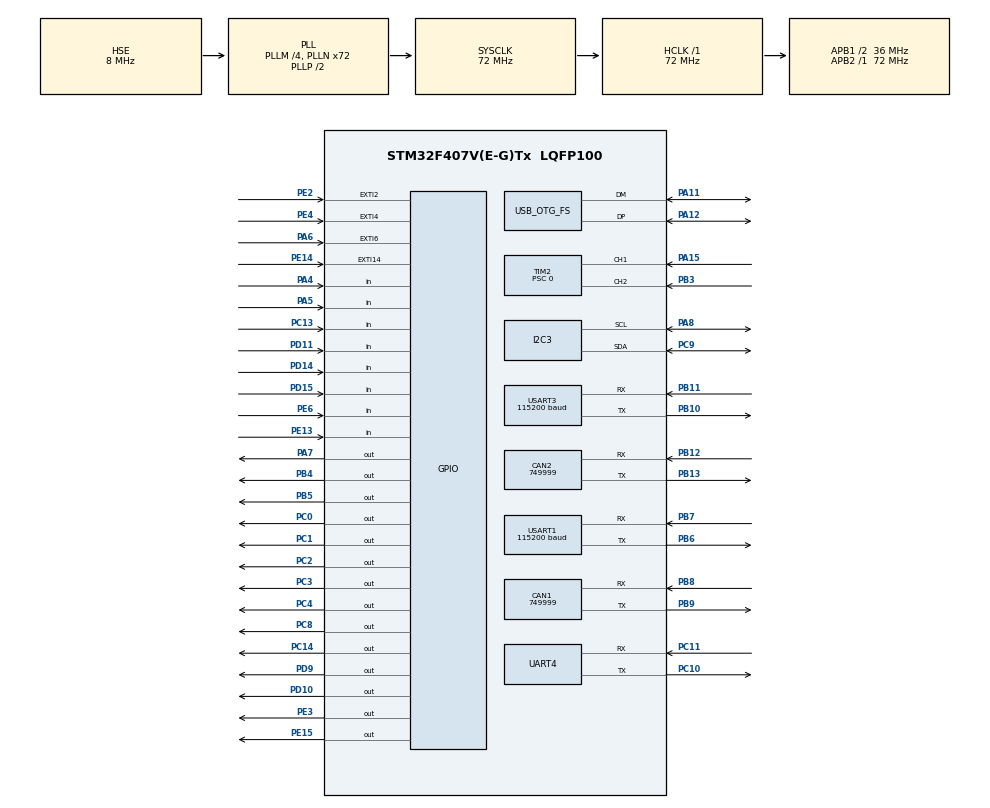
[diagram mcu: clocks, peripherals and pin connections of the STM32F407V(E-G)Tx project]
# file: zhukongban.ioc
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CAN1.BS1=CAN_BS1_1TQ
CAN1.BS2=CAN_BS2_1TQ
CAN1.CalculateBaudRate=749999
CAN1.CalculateTimeBit=1333
CAN1.CalculateTimeQuantum=444.44444444444446
CAN2.BS1=CAN_BS1_1TQ
CAN2.BS2=CAN_BS2_1TQ
CAN2.CalculateBaudRate=749999
CAN2.CalculateTimeBit=1333
CAN2.CalculateTimeQuantum=444.44444444444446
Dma.Request0=USART3_RX
Dma.Request1=USART3_TX
Dma.Request2=USART1_RX
Dma.Request3=USART1_TX
Dma.Request4=UART4_RX
Dma.Request5=UART4_TX
Dma.Request6=TIM2_UP/CH4
Dma.TIM2_UP/CH4.6.Direction=DMA_PERIPH_TO_MEMORY
Dma.TIM2_UP/CH4.6.FIFOMode=DMA_FIFOMODE_DISABLE
Dma.TIM2_UP/CH4.6.Instance=DMA1_Stream7
Dma.TIM2_UP/CH4.6.MemDataAlignment=DMA_MDATAALIGN_WORD
Dma.TIM2_UP/CH4.6.MemInc=DMA_MINC_ENABLE
Dma.TIM2_UP/CH4.6.Mode=DMA_NORMAL
Dma.TIM2_UP/CH4.6.PeriphDataAlignment=DMA_PDATAALIGN_WORD
Dma.TIM2_UP/CH4.6.PeriphInc=DMA_PINC_DISABLE
Dma.TIM2_UP/CH4.6.Priority=DMA_PRIORITY_LOW
Dma.UART4_RX.4.Direction=DMA_PERIPH_TO_MEMORY
Dma.UART4_RX.4.FIFOMode=DMA_FIFOMODE_DISABLE
Dma.UART4_RX.4.Instance=DMA1_Stream2
Dma.UART4_RX.4.MemDataAlignment=DMA_MDATAALIGN_BYTE
Dma.UART4_RX.4.MemInc=DMA_MINC_ENABLE
Dma.UART4_RX.4.Mode=DMA_NORMAL
Dma.UART4_RX.4.PeriphDataAlignment=DMA_PDATAALIGN_BYTE
Dma.UART4_RX.4.PeriphInc=DMA_PINC_DISABLE
Dma.UART4_RX.4.Priority=DMA_PRIORITY_LOW
Dma.UART4_TX.5.Direction=DMA_MEMORY_TO_PERIPH
Dma.UART4_TX.5.FIFOMode=DMA_FIFOMODE_DISABLE
Dma.UART4_TX.5.Instance=DMA1_Stream4
Dma.UART4_TX.5.MemDataAlignment=DMA_MDATAALIGN_BYTE
Dma.UART4_TX.5.MemInc=DMA_MINC_ENABLE
Dma.UART4_TX.5.Mode=DMA_NORMAL
Dma.UART4_TX.5.PeriphDataAlignment=DMA_PDATAALIGN_BYTE
Dma.UART4_TX.5.PeriphInc=DMA_PINC_DISABLE
Dma.UART4_TX.5.Priority=DMA_PRIORITY_LOW
Dma.USART1_RX.2.Direction=DMA_PERIPH_TO_MEMORY
Dma.USART1_RX.2.FIFOMode=DMA_FIFOMODE_DISABLE
Dma.USART1_RX.2.Instance=DMA2_Stream2
Dma.USART1_RX.2.MemDataAlignment=DMA_MDATAALIGN_BYTE
Dma.USART1_RX.2.MemInc=DMA_MINC_ENABLE
Dma.USART1_RX.2.Mode=DMA_NORMAL
Dma.USART1_RX.2.PeriphDataAlignment=DMA_PDATAALIGN_BYTE
Dma.USART1_RX.2.PeriphInc=DMA_PINC_DISABLE
Dma.USART1_RX.2.Priority=DMA_PRIORITY_LOW
Dma.USART1_TX.3.Direction=DMA_MEMORY_TO_PERIPH
Dma.USART1_TX.3.FIFOMode=DMA_FIFOMODE_DISABLE
Dma.USART1_TX.3.Instance=DMA2_Stream7
Dma.USART1_TX.3.MemDataAlignment=DMA_MDATAALIGN_BYTE
Dma.USART1_TX.3.MemInc=DMA_MINC_ENABLE
Dma.USART1_TX.3.Mode=DMA_NORMAL
Dma.USART1_TX.3.PeriphDataAlignment=DMA_PDATAALIGN_BYTE
Dma.USART1_TX.3.PeriphInc=DMA_PINC_DISABLE
Dma.USART1_TX.3.Priority=DMA_PRIORITY_LOW
Dma.USART3_RX.0.Direction=DMA_PERIPH_TO_MEMORY
Dma.USART3_RX.0.FIFOMode=DMA_FIFOMODE_DISABLE
Dma.USART3_RX.0.Instance=DMA1_Stream1
Dma.USART3_RX.0.MemDataAlignment=DMA_MDATAALIGN_BYTE
Dma.USART3_RX.0.MemInc=DMA_MINC_ENABLE
Dma.USART3_RX.0.Mode=DMA_NORMAL
Dma.USART3_RX.0.PeriphDataAlignment=DMA_PDATAALIGN_BYTE
Dma.USART3_RX.0.PeriphInc=DMA_PINC_DISABLE
Dma.USART3_RX.0.Priority=DMA_PRIORITY_LOW
Dma.USART3_TX.1.Direction=DMA_MEMORY_TO_PERIPH
Dma.USART3_TX.1.FIFOMode=DMA_FIFOMODE_DISABLE
Dma.USART3_TX.1.Instance=DMA1_Stream3
Dma.USART3_TX.1.MemDataAlignment=DMA_MDATAALIGN_BYTE
Dma.USART3_TX.1.MemInc=DMA_MINC_ENABLE
Dma.USART3_TX.1.Mode=DMA_NORMAL
Dma.USART3_TX.1.PeriphDataAlignment=DMA_PDATAALIGN_BYTE
Dma.USART3_TX.1.PeriphInc=DMA_PINC_DISABLE
Dma.USART3_TX.1.Priority=DMA_PRIORITY_LOW
Mcu.Family=STM32F4
Mcu.Name=STM32F407V(E-G)Tx
Mcu.Package=LQFP100
NVIC.DMA1_Stream1_IRQn=true\:0\:0\:false\:false\:true\:false\:true\:true
NVIC.DMA1_Stream2_IRQn=true\:0\:0\:false\:false\:true\:false\:true\:true
NVIC.DMA1_Stream3_IRQn=true\:0\:0\:false\:false\:true\:false\:true\:true
NVIC.DMA1_Stream4_IRQn=true\:0\:0\:false\:false\:true\:false\:true\:true
NVIC.DMA1_Stream7_IRQn=true\:0\:0\:false\:false\:true\:false\:true\:true
NVIC.DMA2_Stream2_IRQn=true\:0\:0\:false\:false\:true\:false\:true\:true
NVIC.DMA2_Stream7_IRQn=true\:0\:0\:false\:false\:true\:false\:true\:true
NVIC.EXTI2_IRQn=true\:0\:0\:false\:false\:true\:true\:true\:true
NVIC.EXTI9_5_IRQn=true\:0\:0\:false\:false\:true\:true\:true\:true
NVIC.PriorityGroup=NVIC_PRIORITYGROUP_4
NVIC.TIM2_IRQn=true\:0\:0\:false\:false\:true\:true\:true\:true
NVIC.TIM3_IRQn=true\:0\:0\:false\:false\:true\:true\:true\:true
NVIC.TIM4_IRQn=true\:0\:0\:false\:false\:true\:true\:true\:true
NVIC.UART4_IRQn=true\:0\:0\:false\:false\:true\:true\:true\:true
NVIC.USART1_IRQn=true\:0\:0\:false\:false\:true\:true\:true\:true
NVIC.USART3_IRQn=true\:0\:0\:false\:false\:true\:true\:true\:true
PA11.Mode=Host_Only
PA11.Signal=USB_OTG_FS_DM
PA12.Mode=Host_Only
PA12.Signal=USB_OTG_FS_DP
PA13.Mode=Serial_Wire
PA13.Signal=SYS_JTMS-SWDIO
PA14.Mode=Serial_Wire
PA14.Signal=SYS_JTCK-SWCLK
PA15.GPIO_PuPd=GPIO_PULLDOWN
PA15.GPIO_Speed=GPIO_SPEED_FREQ_HIGH
PA15.Signal=S_TIM2_CH1_ETR
PA4.Signal=GPIO_Input
PA5.Signal=GPIO_Input
PA6.GPIO_ModeDefaultEXTI=GPIO_MODE_IT_FALLING
PA6.Signal=GPXTI6
PA7.Signal=GPIO_Output
PA8.Mode=I2C
PA8.Signal=I2C3_SCL
PB10.Mode=Asynchronous
PB10.Signal=USART3_TX
PB11.Mode=Asynchronous
PB11.Signal=USART3_RX
PB12.Mode=CAN_Activate
PB12.Signal=CAN2_RX
PB13.Mode=CAN_Activate
PB13.Signal=CAN2_TX
PB3.Signal=S_TIM2_CH2
PB4.PinState=GPIO_PIN_SET
PB4.Signal=GPIO_Output
PB5.Signal=GPIO_Output
PB6.Mode=Asynchronous
PB6.Signal=USART1_TX
PB7.Mode=Asynchronous
PB7.Signal=USART1_RX
PB8.Mode=CAN_Activate
PB8.Signal=CAN1_RX
PB9.Mode=CAN_Activate
PB9.Signal=CAN1_TX
PC0.Signal=GPIO_Output
PC1.Signal=GPIO_Output
PC10.Mode=Asynchronous
PC10.Signal=UART4_TX
PC11.Mode=Asynchronous
PC11.Signal=UART4_RX
PC12.Signal=UART5_TX
PC13-ANTI_TAMP.Signal=GPIO_Input
PC14-OSC32_IN.Signal=GPIO_Output
PC2.Signal=GPIO_Output
PC3.Signal=GPIO_Output
PC4.Signal=GPIO_Output
PC8.Signal=GPIO_Output
PC9.Mode=I2C
PC9.Signal=I2C3_SDA
PD10.PinState=GPIO_PIN_RESET
PD10.Signal=GPIO_Output
PD11.Signal=GPIO_Input
PD14.Signal=GPIO_Input
PD15.Signal=GPIO_Input
PD2.Signal=UART5_RX
PD5.Signal=USART2_TX
PD6.Signal=USART2_RX
PD9.Signal=GPIO_Output
PE13.Signal=GPIO_Input
PE14.GPIO_ModeDefaultEXTI=GPIO_MODE_IT_FALLING
PE14.Signal=GPXTI14
PE15.Signal=GPIO_Output
PE2.GPIO_ModeDefaultEXTI=GPIO_MODE_IT_FALLING
PE2.Signal=GPXTI2
PE3.Signal=GPIO_Output
PE4.GPIO_ModeDefaultEXTI=GPIO_MODE_IT_FALLING
PE4.GPIO_PuPd=GPIO_NOPULL
PE4.Signal=GPXTI4
PE6.Signal=GPIO_Input
PH0-OSC_IN.Mode=HSE-External-Oscillator
PH0-OSC_IN.Signal=RCC_OSC_IN
PH1-OSC_OUT.Mode=HSE-External-Oscillator
PH1-OSC_OUT.Signal=RCC_OSC_OUT
ProjectManager.HeapSize=0x200
ProjectManager.StackSize=0x400
ProjectManager.TargetToolchain=MDK-ARM V5.32
RCC.48MHZClocksFreq_Value=48000000
RCC.AHBFreq_Value=72000000
RCC.APB1CLKDivider=RCC_HCLK_DIV2
RCC.APB1Freq_Value=36000000
RCC.APB1TimFreq_Value=72000000
RCC.APB2Freq_Value=72000000
RCC.APB2TimFreq_Value=72000000
RCC.CortexFreq_Value=72000000
RCC.HCLKFreq_Value=72000000
RCC.HSE_VALUE=8000000
RCC.HSI_VALUE=16000000
RCC.LSE_VALUE=32768
RCC.PLLM=4
RCC.PLLN=72
RCC.PLLQ=3
RCC.SYSCLKFreq_VALUE=72000000
RCC.SYSCLKSource=RCC_SYSCLKSOURCE_PLLCLK
RCC.VCOOutputFreq_Value=144000000
SH.S_TIM2_CH1_ETR.0=TIM2_CH1,Encoder_Interface
SH.S_TIM2_CH2.0=TIM2_CH2,Encoder_Interface
TIM2.AutoReloadPreload=TIM_AUTORELOAD_PRELOAD_ENABLE
TIM2.EncoderMode=TIM_ENCODERMODE_TI12
TIM2.Period=0xffffffff
TIM2.Prescaler=0
TIM2.TIM_MasterOutputTrigger=TIM_TRGO_RESET
TIM3.AutoReloadPreload=TIM_AUTORELOAD_PRELOAD_DISABLE
TIM3.Period=4999
TIM3.Prescaler=7199
TIM4.AutoReloadPreload=TIM_AUTORELOAD_PRELOAD_ENABLE
TIM4.Period=999
TIM4.Prescaler=7199
UART4.Parity=PARITY_NONE
UART4.VirtualMode=Asynchronous
UART4.WordLength=WORDLENGTH_8B
USART1.BaudRate=115200
USART1.Parity=PARITY_EVEN
USART1.VirtualMode=VM_ASYNC
USART1.WordLength=WORDLENGTH_9B
USART3.BaudRate=115200
USART3.Parity=PARITY_EVEN
USART3.VirtualMode=VM_ASYNC
USART3.WordLength=WORDLENGTH_9B
USB_OTG_FS.VirtualMode=Host_Only
USB_OTG_FS.phy_itface=HCD_PHY_EMBEDDED
VP_RTC_VS_RTC_Activate.Mode=RTC_Enabled
VP_TIM3_VS_ClockSourceINT.Mode=Internal
VP_TIM4_VS_ClockSourceINT.Mode=Internal
board=custom

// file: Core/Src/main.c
/* USER CODE BEGIN Header */
/**
  ******************************************************************************
  * @file           : main.c
  * @brief          : Main program body
  ******************************************************************************
  * @attention
  *
  * Copyright (c) 2025 STMicroelectronics.
  * All rights reserved.
  *
  * This software is licensed under terms that can be found in the LICENSE file
  * in the root directory of this software component.
  * If no LICENSE file comes with this software, it is provided AS-IS.
  *
  ******************************************************************************
  */
/* USER CODE END Header */
#include "main.h"
#include "can.h"
#include "dma.h"
#include "i2c.h"
#include "rtc.h"
#include "tim.h"
#include "usart.h"
#include "usb_otg.h"
#include "gpio.h"

/* USER CODE BEGIN Includes */
#include "hardware.h"
#include "stm32f4xx.h"
uint8_t rx1_buffer[RX_BUFFER_SIZE];   //接电机，串口1 232
uint8_t rx4_buffer[RX_BUFFER_SIZE];   //接高压板，串口4485
uint8_t rx3_buffer[RX_BUFFER_SIZE];   //接上位机，串口3 422
uint8_t tim2_buffer[4];

uint16_t rx1_length;
uint16_t rx4_length;
uint16_t rx3_length;
uint16_t tim2_length;

uint8_t  rx1_flag = 0;
uint8_t  rx4_flag = 0;
uint8_t  rx3_flag = 0;

uint8_t motor_flag = 0;     //如果等于0则对应信号转高压板
uint8_t com_flag = 0;       //如果等于1则对应信号转高压板

uint16_t k =0;
uint8_t expose_flag = 0;    //曝光标志位
uint8_t pre_flag = 0;       //预备标志位
uint8_t Gybpre_flag =0;     //高压板是否准备
uint8_t Syn_flag =0;        //同步标志位
uint8_t over_flag = 0;      //结束标志位

uint16_t n_total;       //拍照总张数，从上位机读取
uint16_t t_time;        //周期,帧率倒数
uint8_t  pose_time;     //曝光时间
uint8_t  state = 0;     //用于判断进度，初始是0，pre后为1，expose结束后返回0
uint8_t stop_flag = 0;

int32_t pos = 0; // 强制转有符号
unsigned char SynState = 0;   //同步
unsigned char ExpState = 0;   //曝光
/* USER CODE END Includes */

void SystemClock_Config(void);

int main(void)
{

  /* MCU Configuration--------------------------------------------------------*/

  /* Reset of all peripherals, Initializes the Flash interface and the Systick. */
  HAL_Init();

  /* Configure the system clock */
  SystemClock_Config();

  /* Initialize all configured peripherals */
  MX_GPIO_Init();
  MX_DMA_Init();
  MX_CAN1_Init();
  MX_CAN2_Init();
  MX_I2C3_Init();
  MX_USART1_UART_Init();
  MX_USART3_UART_Init();
  MX_USB_OTG_FS_HCD_Init();
  MX_RTC_Init();
  MX_TIM2_Init();
  MX_TIM3_Init();
  MX_UART4_Init();
  MX_TIM4_Init();
  /* USER CODE BEGIN 2 */
//中断接收
//	HAL_UART_Receive_IT(&huart1,rx_buffer ,sizeof(rx_buffer));
// 使能空闲中断
  __HAL_UART_ENABLE_IT(&huart1, UART_IT_IDLE);
  __HAL_UART_ENABLE_IT(&huart4, UART_IT_IDLE);
	__HAL_UART_ENABLE_IT(&huart3, UART_IT_IDLE);

//  // 启动DMA接收
  HAL_UART_Receive_DMA(&huart1, rx1_buffer, sizeof(rx1_buffer));
	HAL_UART_Receive_DMA(&huart4, rx4_buffer, sizeof(rx4_buffer));
	HAL_UART_Receive_DMA(&huart3, rx3_buffer, sizeof(rx3_buffer));

				//使能TIM2中断
	HAL_TIM_Base_Start_IT(&htim4);    //
	HAL_TIM_Base_Start_IT(&htim3);    //
	HAL_TIM_Base_Stop(&htim4);     //暂停计数
	HAL_TIM_Base_Stop(&htim3);     //暂停计数
  //HAL_TIM_PWM_Start(&htim1,TIM_CHANNEL_3);  //启动PWM计数
	//定时器2的溢出值，重载使能
	HAL_TIM_Encoder_Start(&htim2, TIM_CHANNEL_ALL);   // 一次启动所有通道

  /* USER CODE END 2 */

  /* Infinite loop */
  /* USER CODE BEGIN WHILE */

	t_time  = 1/20*1000 ;    //20帧用的毫秒数      //这两个数据需要通过上位机下发指令读取
	pose_time = t_time /2 ;  //曝光时间占一半      //可修改，上位机可

  while (1)
  {

		if(rx3_flag ==1)  // 上位机下发数据
		{
			rx3_flag = 0;
			if(rx3_buffer[0] == 0x5A)  //除电机外的数据
			{
				GybMessage message_422 =
				{
					.Header = rx3_buffer[0], //数据帧头
					.Addr = rx3_buffer[1],  // 数据地址
					.Len = rx3_buffer[2],   // 数据长度
					.Byte0 = rx3_buffer[3], // 指令
					.Byte1 = rx3_buffer[4], // 特殊位索引1
					.Byte2 = rx3_buffer[5], // 特殊位索引 2
					.Byte3 = rx3_buffer[6], // 特殊位索引 3
					.Byte4 = rx3_buffer[7], // 数据字节 1
					.Byte5 = rx3_buffer[8], // 数据字节 2
					.Byte6 = rx3_buffer[9], // 数据字节 3
					.Byte7 = rx3_buffer[10] // 数据字节 4
				};

				if(message_422.Byte0 == 0x21 && message_422.Byte4 == 0x01)   //上位机手闸一
				{
					pre_flag = 1;
				}
				else if(message_422.Byte0 == 0x22 && message_422.Byte4 == 0x01)  //上位机手闸二
				{
					expose_flag = 1;
				}
				else if(message_422.Byte0 == 0x23 && message_422.Byte4 == 0x01)   //上位机停止
				{
					stop_flag = 1;
				}

				else if(message_422.Byte0 == 0x15)         //曝光总时间
				{
					t_time = message_422.Byte3*256 + message_422.Byte4;
				}
				else if(message_422.Byte0 == 0x16)         //脉冲曝光时间
				{
					pose_time = message_422.Byte3*256 + message_422.Byte4;
				}
				else
				{
					com_flag = 1;
					HAL_UART_Transmit_DMA(&huart4, rx3_buffer, rx3_length);   //转发给高压板
				}
			}
			//增加一个判断标志，判断是否是发送给电机的数据，比如头是否是01
			else if(rx3_buffer[0] == 0x01)
			{
				motor_flag =1;

				HAL_UART_Transmit_DMA(&huart1, rx3_buffer, rx3_length);   //转发给电机
			}
		}

	  HAL_Delay(300);

    pos = (int32_t)__HAL_TIM_GET_COUNTER(&htim2); // 查询电机位置
		tim2_buffer[0]   = (uint8_t)(pos & 0xFF);
    tim2_buffer[1] = (uint8_t)((pos >> 8) & 0xFF);
    tim2_buffer[2] = (uint8_t)((pos >> 16) & 0xFF);
    tim2_buffer[3] = (uint8_t)((pos >> 24) & 0xFF);
    tim2_length = 4;
			HAL_UART_Transmit(&huart3, tim2_buffer, tim2_length ,0xFFFF );

			//查询电机速度，
		/*
				HAL_Delay(20);
			DataFrame_Motor1 frame1 =
			{
					.Header = 0x01,
					.Cmd = 0x03,
					.addr = 0x4025,
					.data = 0x0001
				};

			DataFrame_Motor1 *p1 = &frame1;
			uint8_t data[8];
			Send_motor1(p1, data);//计算校验位CRC
			HAL_UART_Transmit_DMA(&huart1, data, sizeof(data));  //通过串口1发送指令查询电机速度

//查询电机位置，
						HAL_Delay(10);
			DataFrame_Motor1 frame2 =
			{
					.Header = 0x01,
					.Cmd = 0x03,
					.addr = 0x4204,
					.data = 0x0002
				};

			DataFrame_Motor1 *p2 = &frame2;
			uint8_t data1[8];
			Send_motor1(p2, data1);//计算校验位CRC
			HAL_UART_Transmit_DMA(&huart1, data1, sizeof(data1));  //通过串口1发送指令查询电机位置
			*/

		//判断是否来了准备信号，下面的过程较为复杂但是单一，建议使用状态机
		if (pre_flag == 1)
		{
				//发动到高压板
			HAL_GPIO_WritePin(GPIOA,GPIO_PIN_7,GPIO_PIN_SET); //IO口通知高压板准备
			pre_flag = 0;
			state = 1; //状态机
	  }

		//判断电机是否转好并且高压板是否准备好同时判断是否手闸二打开
		if(state ==1 && Gybpre_flag == 1)
		{

				//后面可以通过读取电机速度是否为零进行判断。

			if (expose_flag ==1)  //手闸2打开，开始曝光
			{
				//启动计时器2计数，产生同步信号
				HAL_TIM_Base_Start(&htim4);
	  	}
		}

		if(over_flag ==1)  //通过判断曝光次数或者电机运动停止
		{
			//通知高压板和上位机曝光结束
		}
		HAL_Delay(300);

    /* USER CODE END WHILE */

  }
}

void SystemClock_Config(void)
{
  RCC_OscInitTypeDef RCC_OscInitStruct = {0};
  RCC_ClkInitTypeDef RCC_ClkInitStruct = {0};

  /** Configure the main internal regulator output voltage
  */
  __HAL_RCC_PWR_CLK_ENABLE();
  __HAL_PWR_VOLTAGESCALING_CONFIG(PWR_REGULATOR_VOLTAGE_SCALE1);

  /** Initializes the RCC Oscillators according to the specified parameters
  * in the RCC_OscInitTypeDef structure.
  */
  RCC_OscInitStruct.OscillatorType = RCC_OSCILLATORTYPE_LSI|RCC_OSCILLATORTYPE_HSE;
  RCC_OscInitStruct.HSEState = RCC_HSE_ON;
  RCC_OscInitStruct.LSIState = RCC_LSI_ON;
  RCC_OscInitStruct.PLL.PLLState = RCC_PLL_ON;
  RCC_OscInitStruct.PLL.PLLSource = RCC_PLLSOURCE_HSE;
  RCC_OscInitStruct.PLL.PLLM = 4;
  RCC_OscInitStruct.PLL.PLLN = 72;
  RCC_OscInitStruct.PLL.PLLP = RCC_PLLP_DIV2;
  RCC_OscInitStruct.PLL.PLLQ = 3;
  if (HAL_RCC_OscConfig(&RCC_OscInitStruct) != HAL_OK)
  {
    Error_Handler();
  }

  /** Initializes the CPU, AHB and APB buses clocks
  */
  RCC_ClkInitStruct.ClockType = RCC_CLOCKTYPE_HCLK|RCC_CLOCKTYPE_SYSCLK
                              |RCC_CLOCKTYPE_PCLK1|RCC_CLOCKTYPE_PCLK2;
  RCC_ClkInitStruct.SYSCLKSource = RCC_SYSCLKSOURCE_PLLCLK;
  RCC_ClkInitStruct.AHBCLKDivider = RCC_SYSCLK_DIV1;
  RCC_ClkInitStruct.APB1CLKDivider = RCC_HCLK_DIV2;
  RCC_ClkInitStruct.APB2CLKDivider = RCC_HCLK_DIV1;

  if (HAL_RCC_ClockConfig(&RCC_ClkInitStruct, FLASH_LATENCY_2) != HAL_OK)
  {
    Error_Handler();
  }
}

/* USER CODE BEGIN 4 */
//外部中断回调函数，其实依然可以使用查询方式读取信号状态,目前中断过多，可以删除
void HAL_GPIO_EXTI_Callback(uint16_t GPIO_Pin)
{
	if(GPIO_Pin == GPIO_PIN_14)  //探测器返回信号FPD
   {
		Syn_flag = 1;
		//启动定时器3
		 // 1. 设置计数器为 0（写入影子寄存器）
		 HAL_TIM_Base_Start(&htim3);
		 HAL_GPIO_WritePin(GPIOC, GPIO_PIN_4, GPIO_PIN_RESET);   //拉高曝光引脚COM ,PC4
	 }

	 //增加一个判断
	 if(GPIO_Pin == GPIO_PIN_4)   //手闸一
   {
		pre_flag = 1;
	 }

	 if(GPIO_Pin == GPIO_PIN_2)   //手闸二
   {
		expose_flag = 1;
	 }

	 if(GPIO_Pin == GPIO_PIN_6)  //高压板回准备信号
   {
		Gybpre_flag = 1;
	 }

 }

 void HAL_TIM_PeriodElapsedCallback(TIM_HandleTypeDef *htim)  //定时器中断回调函数
{
// static unsigned char ledState = 0;
    // 用 Instance 判断更通用，兼容未来多定时器扩展
    if (htim->Instance == TIM2)
    {
			if(SynState < 2 * n_total)
			{
				HAL_GPIO_TogglePin(GPIOE, GPIO_PIN_15);    //SYNC_InP,启动同步
				SynState ++;
			}
			else
			{
				over_flag = 1;
			}

    }
		if (htim->Instance == TIM3)
    {
				HAL_GPIO_WritePin(GPIOC, GPIO_PIN_4, GPIO_PIN_RESET);   //拉低曝光引脚COM ,PC4
		//  停止定时器（避免计数干扰）
        HAL_TIM_Base_Stop(htim);
    }
}
/* USER CODE END 4 */

void Error_Handler(void)
{
  __disable_irq();
  while (1)
  {
  }
}
